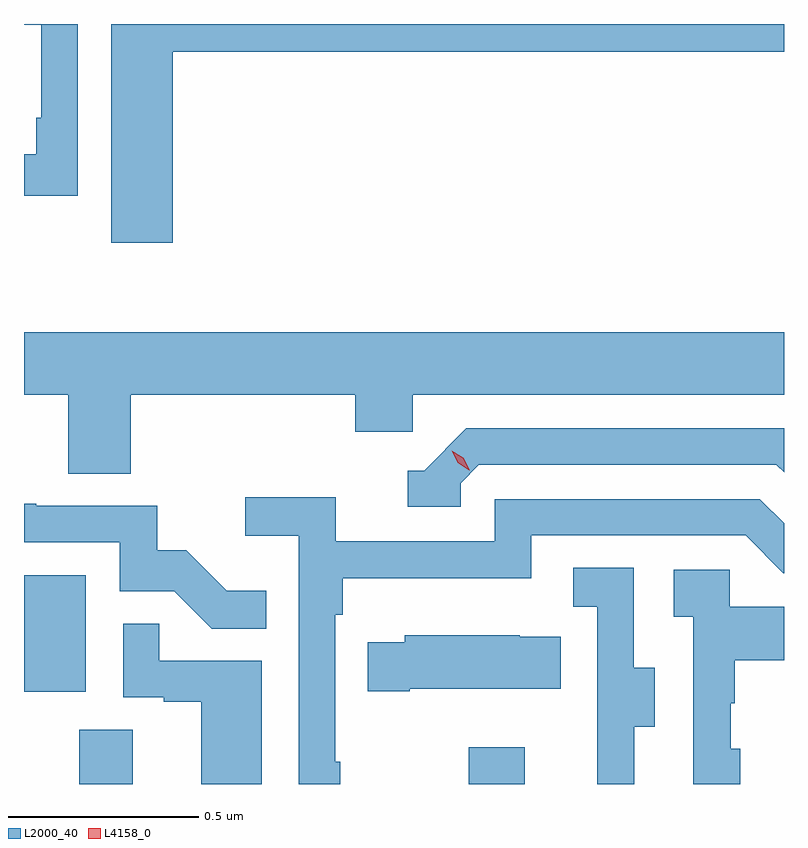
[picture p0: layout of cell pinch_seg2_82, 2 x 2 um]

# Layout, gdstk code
import gdstk
lib = gdstk.Library(unit=1e-6, precision=1e-09)
def R(c, l, rs):  # rectangles x0, y0, x1, y1
    for r in rs: c.add(gdstk.rectangle(r[:2], r[2:], *l))
def P(c, l, *ps):  # polygons
    for p in ps: c.add(gdstk.Polygon(p, *l))
L2000_40 = (2000, 40)
L4158_0 = (4158, 0)

pinch_seg2_82 = lib.new_cell('pinch_seg2_82')
R(pinch_seg2_82, L2000_40, [(1058.351,646.611,1058.491,646.754), (1059.376,646.611,1059.523,646.708), (1058.205,646.854,1058.368,647.161)])
P(pinch_seg2_82, L2000_40, [(1058.596,648.538),(1060.205,648.538),(1060.205,648.611),(1058.435,648.611),(1058.435,648.036),(1058.596,648.036)],
  [(1058.346,648.611),(1058.205,648.611),(1058.205,648.609),(1058.25,648.609),(1058.25,648.364),(1058.237,648.364),(1058.237,648.268),(1058.205,648.268),(1058.205,648.159),(1058.346,648.159)],
  [(1058.486,647.636),(1059.077,647.636),(1059.077,647.538),(1059.228,647.538),(1059.228,647.636),(1060.205,647.636),(1060.205,647.8),(1058.205,647.8),(1058.205,647.636),(1058.321,647.636),(1058.321,647.428),(1058.486,647.428)],
  [(1059.354,647.403),(1059.402,647.451),(1060.185,647.451),(1060.205,647.431),(1060.205,647.547),(1059.369,647.547),(1059.258,647.436),(1059.215,647.436),(1059.215,647.34),(1059.354,647.34)],
  [(1059.037,646.669),(1059.024,646.669),(1059.024,647.057),(1059.044,647.057),(1059.044,647.153),(1059.54,647.153),(1059.54,647.265),(1060.104,647.265),(1060.203,647.166),(1060.205,647.166),(1060.205,647.297),(1060.141,647.361),(1059.444,647.361),(1059.444,647.25),(1059.026,647.25),(1059.026,647.366),(1058.787,647.366),(1058.787,647.264),(1058.928,647.264),(1058.928,646.611),(1059.037,646.611)],
  [(1058.843,647.119),(1058.739,647.119),(1058.632,647.226),(1058.556,647.226),(1058.556,647.343),(1058.237,647.343),(1058.237,647.348),(1058.205,647.348),(1058.205,647.247),(1058.457,647.247),(1058.457,647.118),(1058.601,647.118),(1058.699,647.02),(1058.843,647.02)],
  [(1059.811,646.762),(1059.865,646.762),(1059.865,646.917),(1059.81,646.917),(1059.81,647.18),(1059.651,647.18),(1059.651,647.077),(1059.714,647.077),(1059.714,646.773),(1059.713,646.773),(1059.713,646.611),(1059.811,646.611)],
  [(1060.09,646.704),(1060.065,646.704),(1060.065,646.823),(1060.075,646.823),(1060.075,646.937),(1060.205,646.937),(1060.205,647.077),(1060.062,647.077),(1060.062,647.175),(1059.915,647.175),(1059.915,647.051),(1059.966,647.051),(1059.966,646.611),(1060.09,646.611)],
  [(1058.83,646.935),(1058.561,646.935),(1058.561,647.033),(1058.466,647.033),(1058.466,646.839),(1058.573,646.839),(1058.573,646.827),(1058.672,646.827),(1058.672,646.611),(1058.83,646.611)],
  [(1059.22,646.862),(1059.617,646.862),(1059.617,646.999),(1059.509,646.999),(1059.509,647.002),(1059.207,647.002),(1059.207,646.984),(1059.109,646.984),(1059.109,646.855),(1059.22,646.855)])
P(pinch_seg2_82, L4158_0, [(1059.377,647.437),(1059.346,647.456),(1059.33,647.488),(1059.33,647.488),(1059.33,647.488),(1059.361,647.469),(1059.378,647.437),(1059.378,647.437)])

lib.write_gds('pinch_seg2_82.gds')
